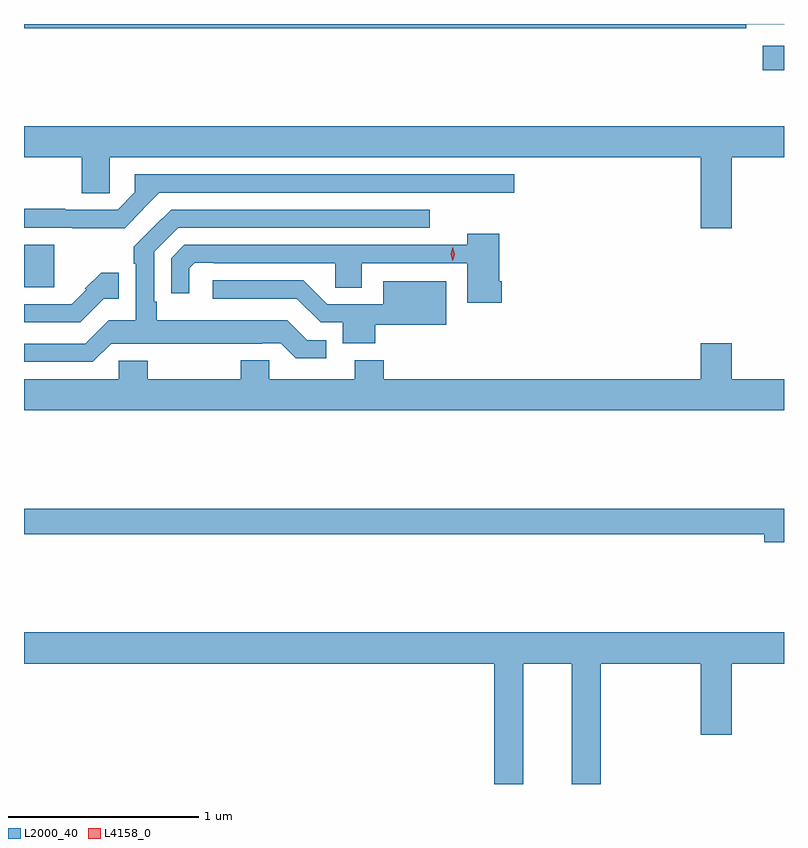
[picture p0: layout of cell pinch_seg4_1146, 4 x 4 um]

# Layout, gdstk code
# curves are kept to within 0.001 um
import gdstk
lib = gdstk.Library(unit=1e-6, precision=1e-09)
def R(c, l, rs):  # rectangles x0, y0, x1, y1
    for r in rs: c.add(gdstk.rectangle(r[:2], r[2:], *l))
def P(c, l, *ps):  # polygons
    for p in ps: c.add(gdstk.Polygon(p, *l))
L2000_40 = (2000, 40)
L4158_0 = (4158, 0)

pinch_seg4_1146 = lib.new_cell('pinch_seg4_1146')
R(pinch_seg4_1146, L2000_40, [(437.171,766.832,437.329,767.056), (441.06,767.974,441.171,768.103)])
P(pinch_seg4_1146, L2000_40, [(440.972,768.216),(441.171,768.216),(441.171,768.218),(437.171,768.218),(437.171,768.196),(440.972,768.196)],
  [(440.896,767.516),(441.171,767.516),(441.171,767.68),(437.171,767.68),(437.171,767.516),(437.476,767.516),(437.476,767.326),(437.622,767.326),(437.622,767.516),(440.732,767.516),(440.732,767.142),(440.896,767.142)],
  [(437.799,767.242),(437.797,767.244),(437.884,767.331),(439.75,767.33),(439.75,767.427),(437.755,767.427),(437.755,767.332),(437.664,767.241),(437.387,767.241),(437.387,767.246),(437.171,767.246),(437.171,767.145),(437.425,767.145),(437.425,767.143),(437.7,767.143)],
  [(437.629,766.536),(438.425,766.535),(438.425,766.539),(438.521,766.539),(438.6,766.46),(438.763,766.46),(438.763,766.554),(438.661,766.554),(438.556,766.659),(437.869,766.66),(437.869,766.756),(437.856,766.756),(437.856,767.019),(437.982,767.145),(439.306,767.145),(439.306,767.241),(437.945,767.241),(437.748,767.045),(437.748,766.955),(437.76,766.955),(437.76,766.659),(437.616,766.659),(437.493,766.536),(437.171,766.536),(437.171,766.44),(437.533,766.44)],
  [(439.685,766.864),(439.672,766.864),(439.672,767.113),(439.505,767.113),(439.505,767.055),(438.015,767.055),(437.946,766.986),(437.946,766.8),(438.04,766.8),(438.04,766.933),(438.069,766.962),(438.169,766.962),(438.169,766.959),(438.81,766.959),(438.81,766.829),(438.949,766.829),(438.949,766.959),(439.505,766.959),(439.505,766.752),(439.685,766.752)],
  [(437.591,766.773),(437.67,766.773),(437.67,766.91),(437.577,766.91),(437.492,766.825),(437.498,766.819),(437.423,766.743),(437.171,766.743),(437.171,766.647),(437.466,766.647)],
  [(439.019,766.634),(439.393,766.634),(439.393,766.864),(439.061,766.864),(439.061,766.743),(438.768,766.743),(438.642,766.869),(438.165,766.869),(438.165,766.773),(438.606,766.773),(438.732,766.647),(438.848,766.647),(438.848,766.538),(439.019,766.538)],
  [(441.171,766.348),(440.896,766.348),(440.896,766.537),(440.732,766.537),(440.732,766.348),(439.064,766.348),(439.064,766.447),(438.911,766.447),(438.911,766.348),(438.462,766.348),(438.462,766.447),(438.311,766.447),(438.311,766.348),(437.822,766.348),(437.822,766.446),(437.67,766.446),(437.67,766.348),(437.171,766.348),(437.171,766.184),(441.171,766.184)],
  [(441.171,765.668),(437.171,765.668),(437.171,765.532),(441.068,765.532),(441.068,765.49),(441.171,765.49)],
  [(439.798,764.852),(440.054,764.852),(440.054,764.218),(440.207,764.218),(440.207,764.852),(440.732,764.852),(440.732,764.478),(440.896,764.478),(440.896,764.852),(441.171,764.852),(441.171,765.016),(437.171,765.016),(437.171,764.852),(439.646,764.852),(439.646,764.218),(439.798,764.218)])
P(pinch_seg4_1146, L4158_0, [(439.428,766.971),(439.428,766.971),(439.417,767.006),(439.427,767.042),(439.427,767.042),(439.427,767.042),(439.437,767.007),(439.428,766.971)])

lib.write_gds('pinch_seg4_1146.gds')
